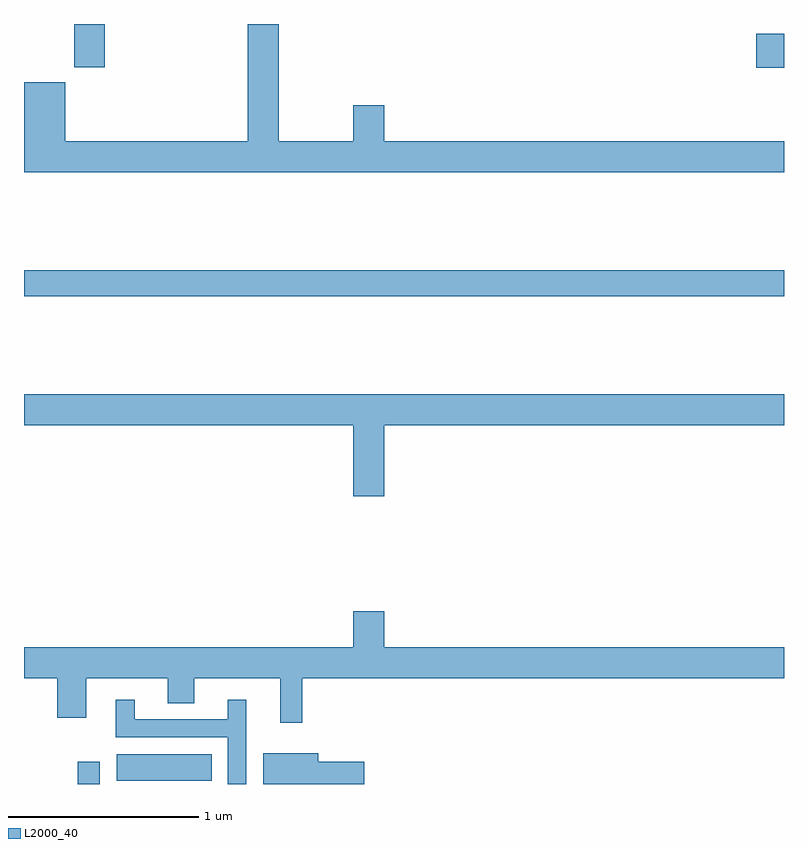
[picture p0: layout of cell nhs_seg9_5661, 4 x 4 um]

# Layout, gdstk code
import gdstk
lib = gdstk.Library(unit=1e-6, precision=1e-09)
def R(c, l, rs):  # rectangles x0, y0, x1, y1
    for r in rs: c.add(gdstk.rectangle(r[:2], r[2:], *l))
def P(c, l, *ps):  # polygons
    for p in ps: c.add(gdstk.Polygon(p, *l))
L2000_40 = (2000, 40)

nhs_seg9_5661 = lib.new_cell('nhs_seg9_5661')
R(nhs_seg9_5661, L2000_40, [(439.282,1226.5,439.398,1226.617), (439.488,1226.516,439.988,1226.656), (439,1229.068,443,1229.204), (442.854,1230.271,443,1230.449), (439.264,1230.273,439.424,1230.5)])
P(nhs_seg9_5661, L2000_40, [(443,1229.884),(440.896,1229.884),(440.896,1230.073),(440.732,1230.073),(440.732,1229.884),(440.341,1229.884),(440.341,1230.499),(440.177,1230.499),(440.177,1229.884),(439.216,1229.884),(439.216,1230.193),(439,1230.193),(439,1229.72),(443,1229.72)],
  [(440.896,1228.388),(443,1228.388),(443,1228.552),(439,1228.552),(439,1228.388),(440.732,1228.388),(440.732,1228.014),(440.896,1228.014)],
  [(440.465,1227.056),(443,1227.056),(443,1227.22),(440.896,1227.22),(440.896,1227.409),(440.732,1227.409),(440.732,1227.22),(439,1227.22),(439,1227.056),(439.175,1227.056),(439.175,1226.85),(439.327,1226.85),(439.327,1227.056),(439.757,1227.056),(439.757,1226.926),(439.897,1226.926),(439.897,1227.056),(440.348,1227.056),(440.348,1226.823),(440.465,1226.823)],
  [(440.169,1226.944),(440.072,1226.944),(440.072,1226.841),(439.582,1226.841),(439.582,1226.944),(439.484,1226.944),(439.484,1226.745),(440.073,1226.745),(440.073,1226.5),(440.169,1226.5)],
  [(440.791,1226.616),(440.548,1226.616),(440.548,1226.662),(440.259,1226.662),(440.259,1226.5),(440.791,1226.5)])

lib.write_gds('nhs_seg9_5661.gds')
